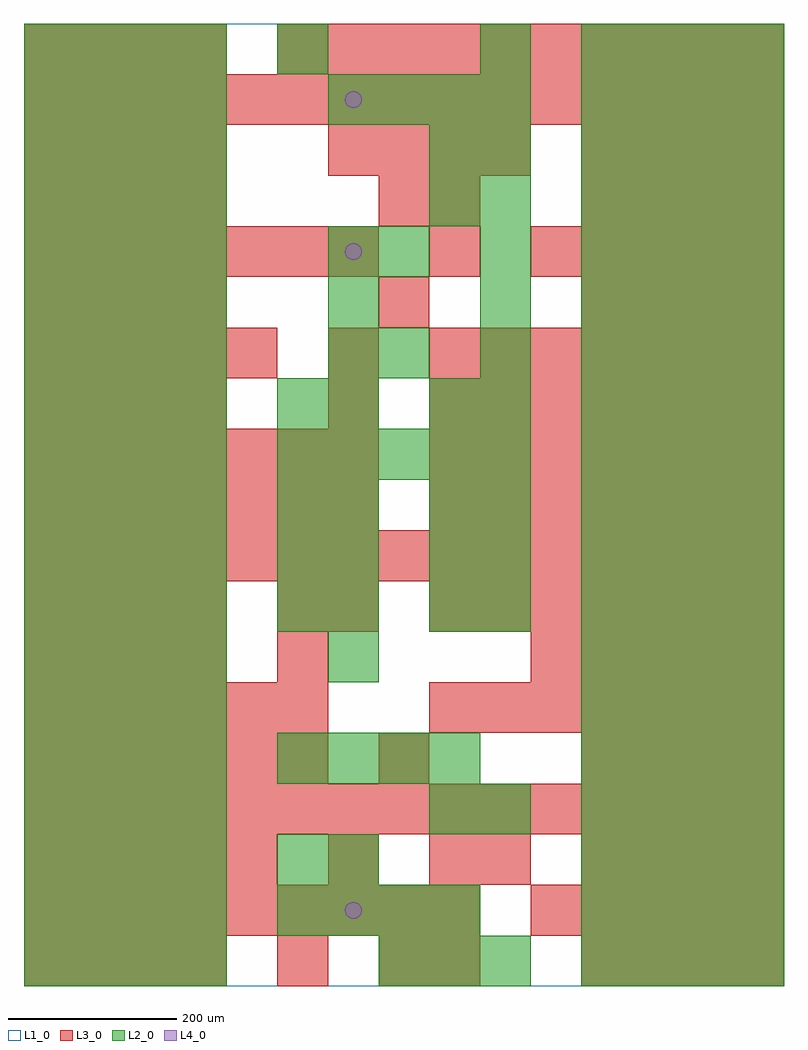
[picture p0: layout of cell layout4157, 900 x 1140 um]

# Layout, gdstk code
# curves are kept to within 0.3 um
import gdstk
lib = gdstk.Library(unit=1e-6, precision=1e-09)
def R(c, l, rs):  # rectangles x0, y0, x1, y1
    for r in rs: c.add(gdstk.rectangle(r[:2], r[2:], *l))
def A(c, l, x, y, w, h, nx, ny, dx, dy):  # array of equal rectangles
    R(c, l, [(x+i*dx, y+j*dy, x+i*dx+w, y+j*dy+h) for i in range(nx) for j in range(ny)])
def P(c, l, *ps):  # polygons
    for p in ps: c.add(gdstk.Polygon(p, *l))
L1_0 = (1, 0)
L2_0 = (2, 0)
L3_0 = (3, 0)
L4_0 = (4, 0)

layout4157 = lib.new_cell('layout4157')
R(layout4157, L1_0, [(0,0,900,1140)])
A(layout4157, L2_0, 0, 0, 60, 60, 4, 19, 60, 60)
A(layout4157, L2_0, 420, 0, 60, 60, 3, 1, 60, 0)
A(layout4157, L2_0, 660, 0, 60, 60, 4, 12, 60, 60)
A(layout4157, L2_0, 300, 60, 60, 60, 4, 2, 60, 180)
A(layout4157, L2_0, 360, 360, 60, 60, 1, 4, 0, 60)
A(layout4157, L2_0, 300, 420, 60, 60, 1, 3, 0, 60)
A(layout4157, L2_0, 480, 420, 60, 60, 1, 3, 0, 60)
A(layout4157, L2_0, 540, 420, 60, 60, 1, 3, 0, 60)
A(layout4157, L2_0, 300, 600, 60, 60, 5, 1, 60, 0)
A(layout4157, L2_0, 360, 660, 60, 60, 1, 4, 0, 60)
A(layout4157, L2_0, 540, 660, 60, 60, 1, 3, 0, 120)
A(layout4157, L2_0, 420, 720, 60, 60, 3, 2, 120, 120)
A(layout4157, L2_0, 720, 720, 60, 60, 3, 2, 60, 120)
A(layout4157, L2_0, 660, 780, 60, 60, 4, 2, 60, 120)
A(layout4157, L2_0, 660, 960, 60, 60, 4, 3, 60, 60)
A(layout4157, L2_0, 360, 1020, 60, 60, 4, 1, 60, 0)
R(layout4157, L2_0, [(300,120,360,180), (360,120,420,180), (480,180,540,240), (540,180,600,240), (300,660,360,720), (480,660,540,720), (480,900,540,960), (480,960,540,1020), (540,960,600,1020), (300,1080,360,1140), (540,1080,600,1140)])
A(layout4157, L3_0, 0, 0, 60, 60, 4, 2, 60, 360)
A(layout4157, L3_0, 660, 0, 60, 60, 4, 3, 60, 120)
A(layout4157, L3_0, 0, 60, 60, 60, 9, 1, 60, 0)
A(layout4157, L3_0, 600, 60, 60, 60, 5, 2, 60, 300)
A(layout4157, L3_0, 0, 120, 60, 60, 5, 2, 60, 600)
A(layout4157, L3_0, 0, 180, 60, 60, 15, 2, 60, 300)
A(layout4157, L3_0, 0, 240, 60, 60, 6, 2, 60, 60)
A(layout4157, L3_0, 480, 300, 60, 60, 7, 3, 60, 120)
A(layout4157, L3_0, 0, 420, 60, 60, 4, 2, 60, 240)
A(layout4157, L3_0, 0, 540, 60, 60, 7, 2, 60, 60)
A(layout4157, L3_0, 480, 600, 60, 60, 7, 3, 60, 60)
A(layout4157, L3_0, 0, 780, 60, 60, 4, 2, 60, 120)
A(layout4157, L3_0, 660, 780, 60, 60, 4, 2, 60, 120)
A(layout4157, L3_0, 0, 840, 60, 60, 7, 1, 60, 0)
A(layout4157, L3_0, 600, 840, 60, 60, 5, 1, 60, 0)
A(layout4157, L3_0, 0, 960, 60, 60, 4, 2, 60, 120)
A(layout4157, L3_0, 360, 960, 60, 60, 4, 1, 60, 0)
A(layout4157, L3_0, 660, 960, 60, 60, 4, 1, 60, 0)
A(layout4157, L3_0, 0, 1020, 60, 60, 15, 1, 60, 0)
A(layout4157, L3_0, 300, 1080, 60, 60, 10, 1, 60, 0)
R(layout4157, L3_0, [(300,0,360,60), (420,0,480,60), (480,0,540,60), (360,120,420,180), (480,120,540,180), (540,120,600,180), (420,240,480,300), (300,360,360,420), (300,420,360,480), (360,420,420,480), (360,660,420,720), (360,720,420,780), (420,780,480,840), (480,840,540,900), (420,900,480,960), (480,900,540,960)])
P(layout4157, L4_0, [(400,90),(399.239,93.827),(397.071,97.071),(393.827,99.239),(390,100),(386.173,99.239),(382.929,97.071),(380.761,93.827),(380,90),(380.761,86.173),(382.929,82.929),(386.173,80.761),(390,80),(393.827,80.761),(397.071,82.929),(399.239,86.173)],
  [(400,870),(399.239,873.827),(397.071,877.071),(393.827,879.239),(390,880),(386.173,879.239),(382.929,877.071),(380.761,873.827),(380,870),(380.761,866.173),(382.929,862.929),(386.173,860.761),(390,860),(393.827,860.761),(397.071,862.929),(399.239,866.173)],
  [(400,1050),(399.239,1053.827),(397.071,1057.071),(393.827,1059.239),(390,1060),(386.173,1059.239),(382.929,1057.071),(380.761,1053.827),(380,1050),(380.761,1046.173),(382.929,1042.929),(386.173,1040.761),(390,1040),(393.827,1040.761),(397.071,1042.929),(399.239,1046.173)])

lib.write_gds('layout4157.gds')
